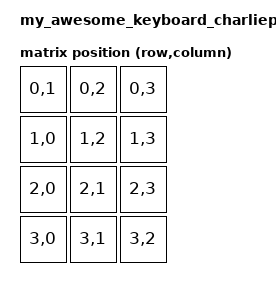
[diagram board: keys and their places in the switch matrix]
/*
* Copyright (c) 2025 The ZMK Contributors
*
* SPDX-License-Identifier: MIT
*/
#include <dt-bindings/zmk/matrix_transform.h>
#include "my_awesome_keyboard_charlieplex-layouts.dtsi"

&physical_layout0 {
	transform = <&transform0>;
};

/ {
	chosen {
		zmk,kscan = &kscan0;
		zmk,physical-layout = &physical_layout0;
	};
	
	kscan0: kscan {
		compatible = "zmk,kscan-gpio-charlieplex";
		gpios
		= <&xiao_d 0 (GPIO_ACTIVE_LOW | GPIO_PULL_UP)>
		, <&xiao_d 1 (GPIO_ACTIVE_LOW | GPIO_PULL_UP)>
		, <&xiao_d 2 (GPIO_ACTIVE_LOW | GPIO_PULL_UP)>
		, <&xiao_d 3 (GPIO_ACTIVE_LOW | GPIO_PULL_UP)>
		;
		debounce-press-ms = <5>;
		debounce-release-ms = <5>;
		debounce-scan-period-ms = <1>;
		poll-period-ms = <10>;
	};
	
	transform0: keymap_transform {
		compatible = "zmk,matrix-transform";
		columns = <4>;
		rows = <4>;
		map = <
		RC(0,1)  RC(0,2)  RC(0,3)
		RC(1,0)  RC(1,2)  RC(1,3)
		RC(2,0)  RC(2,1)  RC(2,3)
		RC(3,0)  RC(3,1)  RC(3,2)
		>;
	};
};
